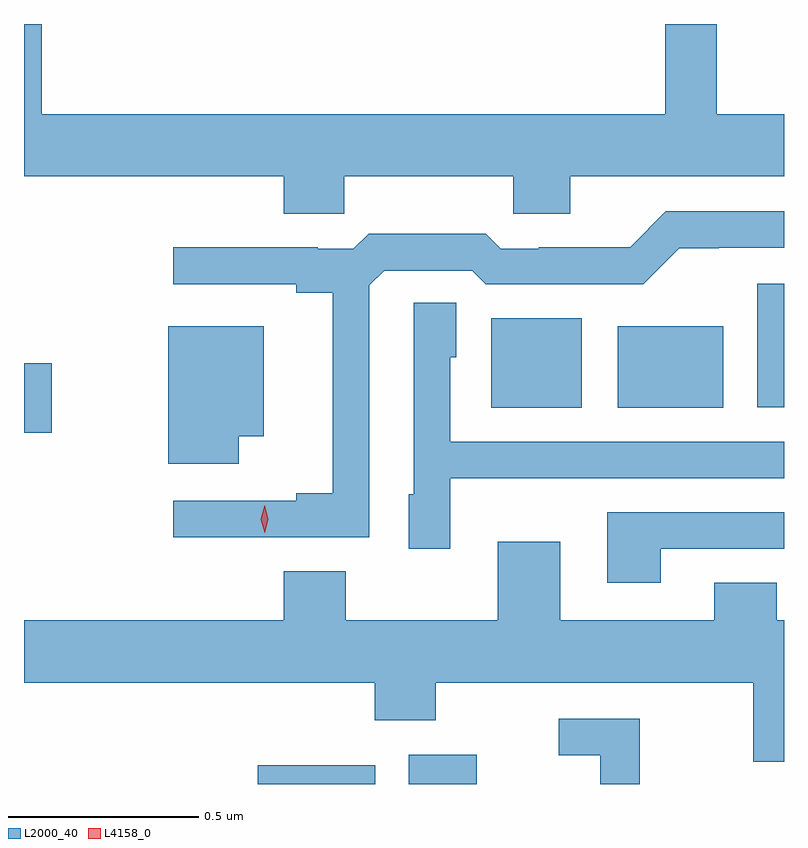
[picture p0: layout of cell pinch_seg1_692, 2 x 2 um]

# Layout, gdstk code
import gdstk
lib = gdstk.Library(unit=1e-6, precision=1e-09)
def R(c, l, rs):  # rectangles x0, y0, x1, y1
    for r in rs: c.add(gdstk.rectangle(r[:2], r[2:], *l))
def P(c, l, *ps):  # polygons
    for p in ps: c.add(gdstk.Polygon(p, *l))
L2000_40 = (2000, 40)
L4158_0 = (4158, 0)

pinch_seg1_692 = lib.new_cell('pinch_seg1_692')
R(pinch_seg1_692, L2000_40, [(647.109,568.781,647.418,568.83), (647.507,568.781,647.686,568.858), (646.494,569.705,646.567,569.888), (647.723,569.771,647.962,570.007), (648.056,569.771,648.334,569.986), (648.423,569.772,648.494,570.097)])
P(pinch_seg1_692, L2000_40, [(647.337,570.38),(647.782,570.38),(647.782,570.282),(647.932,570.282),(647.932,570.38),(648.494,570.38),(648.494,570.544),(648.317,570.544),(648.317,570.781),(648.2,570.781),(648.2,570.78),(648.181,570.78),(648.181,570.544),(646.541,570.544),(646.541,570.781),(646.494,570.781),(646.494,570.38),(647.177,570.38),(647.177,570.282),(647.337,570.282)],
  [(647.403,570.093),(647.442,570.132),(647.673,570.132),(647.709,570.096),(648.123,570.096),(648.218,570.191),(648.322,570.191),(648.322,570.192),(648.494,570.192),(648.494,570.288),(648.183,570.288),(648.089,570.194),(647.848,570.194),(647.848,570.189),(647.748,570.189),(647.709,570.229),(647.401,570.229),(647.361,570.189),(647.267,570.189),(647.267,570.194),(646.887,570.194),(646.887,570.096),(647.21,570.096),(647.21,570.074),(647.306,570.074),(647.306,569.546),(647.21,569.546),(647.21,569.526),(646.887,569.526),(646.887,569.43),(647.403,569.43)],
  [(647.616,569.585),(647.933,569.585),(647.933,569.586),(648.494,569.586),(648.494,569.682),(647.616,569.682),(647.616,569.904),(647.632,569.904),(647.632,570.047),(647.52,570.047),(647.52,569.544),(647.507,569.544),(647.507,569.4),(647.616,569.4)],
  [(647.059,569.696),(647.125,569.696),(647.125,569.986),(646.874,569.986),(646.874,569.624),(647.059,569.624)],
  [(648.169,569.4),(648.494,569.4),(648.494,569.496),(648.029,569.496),(648.029,569.31),(648.169,569.31)],
  [(648.494,569.212),(648.475,569.212),(648.475,569.311),(648.311,569.311),(648.311,569.212),(647.905,569.212),(647.905,569.419),(647.741,569.419),(647.741,569.212),(647.341,569.212),(647.341,569.341),(647.177,569.341),(647.177,569.212),(646.494,569.212),(646.494,569.048),(647.417,569.048),(647.417,568.949),(647.577,568.949),(647.577,569.048),(648.413,569.048),(648.413,568.84),(648.494,568.84)],
  [(648.115,568.953),(647.901,568.953),(647.901,568.857),(648.011,568.857),(648.011,568.781),(648.115,568.781)])
P(pinch_seg1_692, L4158_0, [(647.127,569.442),(647.127,569.442),(647.117,569.478),(647.127,569.514),(647.127,569.514),(647.127,569.514),(647.137,569.478),(647.127,569.442)])

lib.write_gds('pinch_seg1_692.gds')
